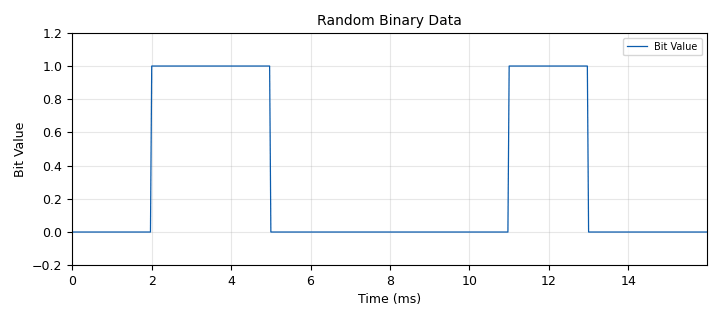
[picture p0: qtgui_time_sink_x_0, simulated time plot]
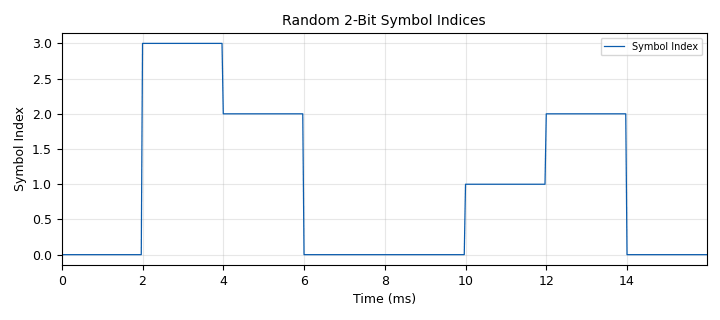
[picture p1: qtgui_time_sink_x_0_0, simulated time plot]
options:
  parameters:
    author: Dhrubjun
    generate_options: qt_gui
    id: exp6
    output_language: python
    title: Random Bits to Symbols
  states: {}

blocks:
- name: bit_rate
  id: variable_qtgui_range
  parameters:
    label: Bit Rate (bit/s)
    start: '500'
    step: '500'
    stop: '4000'
    value: '1000'
  states: {}
- name: samp_rate
  id: variable
  parameters:
    value: '32000'
  states: {}
- name: samples_per_bit
  id: variable
  parameters:
    value: int(samp_rate / bit_rate)
  states: {}
- name: analog_random_source_x_1
  id: analog_random_source_x
  parameters:
    max: '2'
    min: '0'
    num_samps: '1000'
    repeat: 'True'
    type: byte
  states: {}
- name: blocks_repack_bits_bb_0_0
  id: blocks_repack_bits_bb
  parameters:
    endianness: gr.GR_MSB_FIRST
    k: '1'
    l: '2'
  states: {}
- name: blocks_repeat_0
  id: blocks_repeat
  parameters:
    interp: samples_per_bit
    type: float
  states: {}
- name: blocks_repeat_0_0
  id: blocks_repeat
  parameters:
    interp: 2*samples_per_bit
    type: float
  states: {}
- name: blocks_throttle2_0
  id: blocks_throttle2
  parameters:
    samples_per_second: samp_rate
    type: float
  states: {}
- name: blocks_throttle2_0_0
  id: blocks_throttle2
  parameters:
    samples_per_second: samp_rate
    type: float
  states: {}
- name: blocks_uchar_to_float_0
  id: blocks_uchar_to_float
  parameters: {}
  states: {}
- name: blocks_uchar_to_float_0_0
  id: blocks_uchar_to_float
  parameters: {}
  states: {}
- name: qtgui_time_sink_x_0
  id: qtgui_time_sink_x
  parameters:
    grid: 'True'
    gui_hint: (0,0,1,1)
    label1: Bit Value
    name: Random Binary Data
    size: '512'
    srate: samp_rate
    type: float
    update_time: '2'
    ylabel: Bit Value
    ymax: '1.2'
    ymin: '-0.2'
  states: {}
- name: qtgui_time_sink_x_0_0
  id: qtgui_time_sink_x
  parameters:
    autoscale: 'True'
    grid: 'True'
    gui_hint: (0,1,1,1)
    label1: Symbol Index
    name: Random 2-Bit Symbol Indices
    size: '512'
    srate: samp_rate
    type: float
    update_time: '2'
    ylabel: Symbol Index
    ymax: '3.5'
    ymin: '-0.5'
  states: {}

connections:
- [analog_random_source_x_1, '0', blocks_repack_bits_bb_0_0, '0']
- [analog_random_source_x_1, '0', blocks_uchar_to_float_0, '0']
- [blocks_repack_bits_bb_0_0, '0', blocks_uchar_to_float_0_0, '0']
- [blocks_repeat_0, '0', blocks_throttle2_0, '0']
- [blocks_repeat_0_0, '0', blocks_throttle2_0_0, '0']
- [blocks_throttle2_0, '0', qtgui_time_sink_x_0, '0']
- [blocks_throttle2_0_0, '0', qtgui_time_sink_x_0_0, '0']
- [blocks_uchar_to_float_0, '0', blocks_repeat_0, '0']
- [blocks_uchar_to_float_0_0, '0', blocks_repeat_0_0, '0']

metadata:
  file_format: 1
  grc_version: 3.10.12.0
